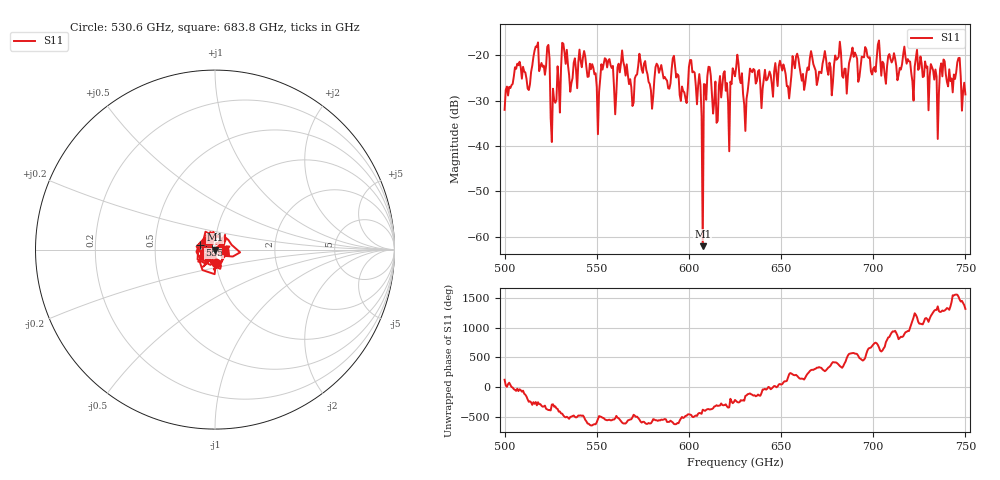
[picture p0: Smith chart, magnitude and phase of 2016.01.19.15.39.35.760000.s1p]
!Created with skrf (http://scikit-rf.org).
# GHz S RI R 50.0
!freq ReS11 ImS11
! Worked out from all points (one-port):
!   401 points, 500 GHz to 750 GHz, reference 50 ohm
!   lowest |S11| = -62.1 dB at 607.5 GHz (marker M1), VSWR 1.00, Z = 50.1 - j0.0322 ohm
!   |S11| at or under -10 dB: start of sweep to end of sweep
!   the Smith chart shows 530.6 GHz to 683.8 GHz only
!   S11 on the Smith chart (normalised r, x): 530.6 GHz: 1.00, -0.15; 555 GHz: 0.84, +0.04; 683.8 GHz: 1.12, -0.02
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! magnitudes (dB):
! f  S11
! 500 GHz  -32.0
! 516.9 GHz  -18.1
! 523.1 GHz  -18.2
! 526.2 GHz  -27.4
! 530.6 GHz  -22.8
! 531.2 GHz  -17.3
! 541.9 GHz  -22.6
! 550.6 GHz  -37.4
! 555 GHz  -20.9
! 559.4 GHz  -27.2
! 562.5 GHz  -23.8
! 568.8 GHz  -27.1
! 573.1 GHz  -19.7
! 579.4 GHz  -27.7
! 593.8 GHz  -24.2
! 598.1 GHz  -29.5
! 601.9 GHz  -23.8
! 607.5 GHz  -62.1
! 610 GHz  -24.6
! 614.4 GHz  -25.8
! 625 GHz  -24.6
! 630.6 GHz  -36.7
! 634.4 GHz  -23.7
! 656.2 GHz  -20.2
! 683.8 GHz  -25.0
! 687.5 GHz  -20.7
! 718.8 GHz  -20.9
! 750 GHz  -28.7
